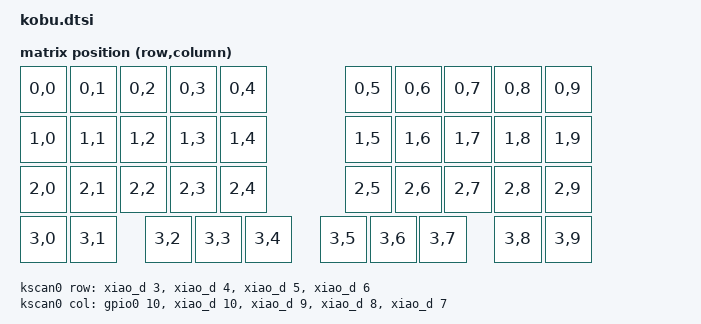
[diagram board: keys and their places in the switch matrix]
/*
 * kobu shield — shared hardware definition (both halves include this).
 *
 * kobu is a split keyboard with two Seeed XIAO nRF52840 BLE modules, a 4x5
 * scan matrix per half (unified into a 4x10 keymap), and one PMW3610 optical
 * trackball per half. LEFT = central (local ball drives SCROLL); RIGHT =
 * peripheral (ball forwarded over the split link, drives POINTER + auto-mouse).
 *
 * Pin map is taken verbatim from the RMK firmware's keyboard.toml (the
 * authoritative kobu spec). NOTE this differs from KobitoKey — kobu is a
 * different PCB:
 *   rows  (both halves, DRIVEN outputs): P0_29=D3, P0_04=D4, P0_05=D5, P1_11=D6
 *   cols  LEFT  (read inputs):  P0_10, P1_15, P1_14, P1_13, P1_12
 *   cols  RIGHT (read inputs):  P1_12, P1_13, P1_14, P1_15, P0_10  (see overlay)
 *   diodes anode-on-/ROW (per silkscreen) -> scan ROW->COL -> diode-direction
 *          = "row2col" (the OPPOSITE of KobitoKey's "col2row"); rows are the
 *          driven outputs, cols are the read inputs (pull-down).
 * P0_10 (NFC2) and P0_09 (NFC1) are NOT on the xiao_d nexus -> addressed as raw
 * &gpio0 10 / &gpio0 9 (requires CONFIG_NFCT_PINS_AS_GPIOS=y, set in the confs).
 */

#include <dt-bindings/zmk/matrix_transform.h>
#include <dt-bindings/zmk/input_transform.h>
#include <physical_layouts.dtsi>

/ {
    /* 4x5 matrix scan. Rows are shared L/R; cols default to the LEFT order and
     * are overridden in kobu_right.overlay. row2col => rows DRIVEN (active-high,
     * no pull), cols READ (active-high + pull-down). */
    kscan0: kscan0 {
        compatible = "zmk,kscan-gpio-matrix";
        diode-direction = "row2col";
        wakeup-source;

        row-gpios
            = <&xiao_d 3 GPIO_ACTIVE_HIGH>   /* P0_29  row0 */
            , <&xiao_d 4 GPIO_ACTIVE_HIGH>   /* P0_04  row1 */
            , <&xiao_d 5 GPIO_ACTIVE_HIGH>   /* P0_05  row2 */
            , <&xiao_d 6 GPIO_ACTIVE_HIGH>;  /* P1_11  row3 */

        /* LEFT col order [P0_10, P1_15, P1_14, P1_13, P1_12]. */
        col-gpios
            = <&gpio0 10 (GPIO_ACTIVE_HIGH | GPIO_PULL_DOWN)>   /* P0_10  col0 */
            , <&xiao_d 10 (GPIO_ACTIVE_HIGH | GPIO_PULL_DOWN)>  /* P1_15  col1 */
            , <&xiao_d  9 (GPIO_ACTIVE_HIGH | GPIO_PULL_DOWN)>  /* P1_14  col2 */
            , <&xiao_d  8 (GPIO_ACTIVE_HIGH | GPIO_PULL_DOWN)>  /* P1_13  col3 */
            , <&xiao_d  7 (GPIO_ACTIVE_HIGH | GPIO_PULL_DOWN)>; /* P1_12  col4 */
    };

    /* Unified 4 rows x 10 cols (left 0..4, right 5..9). Identity transform;
     * kobu_right.overlay adds col-offset = 5. */
    default_transform: keymap_transform0 {
        compatible = "zmk,matrix-transform";
        rows = <4>;
        columns = <10>;
        map = <
            RC(0,0) RC(0,1) RC(0,2) RC(0,3) RC(0,4)   RC(0,5) RC(0,6) RC(0,7) RC(0,8) RC(0,9)
            RC(1,0) RC(1,1) RC(1,2) RC(1,3) RC(1,4)   RC(1,5) RC(1,6) RC(1,7) RC(1,8) RC(1,9)
            RC(2,0) RC(2,1) RC(2,2) RC(2,3) RC(2,4)   RC(2,5) RC(2,6) RC(2,7) RC(2,8) RC(2,9)
            RC(3,0) RC(3,1) RC(3,2) RC(3,3) RC(3,4)   RC(3,5) RC(3,6) RC(3,7) RC(3,8) RC(3,9)
        >;
    };

    /* RIGHT (peripheral) trackball forwarded over the split link as input id 0.
     * The physical device + per-axis fix-ups are bound on the peripheral side
     * (kobu_right.overlay); the central consumes this split input via
     * tb_right_listener below. */
    split_inputs {
        #address-cells = <1>;
        #size-cells = <0>;

        tb_right_split: tb_right_split@0 {
            compatible = "zmk,input-split";
            reg = <0>;
        };
    };

    /* Listeners enabled per-half in the overlays. The LEFT ball (scroll) is a
     * central-local device; the RIGHT ball (pointer) arrives via the split. */
    tb_left_listener: tb_left_listener {
        compatible = "zmk,input-listener";
        status = "disabled";
    };

    tb_right_listener: tb_right_listener {
        compatible = "zmk,input-listener";
        status = "disabled";
        device = <&tb_right_split>;
    };

    /* Single physical layout (geometry + kscan + transform). */
    kobu_physical_layout: kobu_physical_layout {
        compatible = "zmk,physical-layout";
        display-name = "kobu";
        kscan = <&kscan0>;
        transform = <&default_transform>;

        keys =
            /* Row 0 */
              <&key_physical_attrs 100 100    0    0 0 0 0>
            , <&key_physical_attrs 100 100  100    0 0 0 0>
            , <&key_physical_attrs 100 100  200    0 0 0 0>
            , <&key_physical_attrs 100 100  300    0 0 0 0>
            , <&key_physical_attrs 100 100  400    0 0 0 0>
            , <&key_physical_attrs 100 100  650    0 0 0 0>
            , <&key_physical_attrs 100 100  750    0 0 0 0>
            , <&key_physical_attrs 100 100  850    0 0 0 0>
            , <&key_physical_attrs 100 100  950    0 0 0 0>
            , <&key_physical_attrs 100 100 1050    0 0 0 0>
            /* Row 1 */
            , <&key_physical_attrs 100 100    0  100 0 0 0>
            , <&key_physical_attrs 100 100  100  100 0 0 0>
            , <&key_physical_attrs 100 100  200  100 0 0 0>
            , <&key_physical_attrs 100 100  300  100 0 0 0>
            , <&key_physical_attrs 100 100  400  100 0 0 0>
            , <&key_physical_attrs 100 100  650  100 0 0 0>
            , <&key_physical_attrs 100 100  750  100 0 0 0>
            , <&key_physical_attrs 100 100  850  100 0 0 0>
            , <&key_physical_attrs 100 100  950  100 0 0 0>
            , <&key_physical_attrs 100 100 1050  100 0 0 0>
            /* Row 2 */
            , <&key_physical_attrs 100 100    0  200 0 0 0>
            , <&key_physical_attrs 100 100  100  200 0 0 0>
            , <&key_physical_attrs 100 100  200  200 0 0 0>
            , <&key_physical_attrs 100 100  300  200 0 0 0>
            , <&key_physical_attrs 100 100  400  200 0 0 0>
            , <&key_physical_attrs 100 100  650  200 0 0 0>
            , <&key_physical_attrs 100 100  750  200 0 0 0>
            , <&key_physical_attrs 100 100  850  200 0 0 0>
            , <&key_physical_attrs 100 100  950  200 0 0 0>
            , <&key_physical_attrs 100 100 1050  200 0 0 0>
            /* Row 3 (thumbs) */
            , <&key_physical_attrs 100 100    0  300 0 0 0>
            , <&key_physical_attrs 100 100  100  300 0 0 0>
            , <&key_physical_attrs 100 100  250  300 0 0 0>
            , <&key_physical_attrs 100 100  350  300 0 0 0>
            , <&key_physical_attrs 100 100  450  300 0 0 0>
            , <&key_physical_attrs 100 100  600  300 0 0 0>
            , <&key_physical_attrs 100 100  700  300 0 0 0>
            , <&key_physical_attrs 100 100  800  300 0 0 0>
            , <&key_physical_attrs 100 100  950  300 0 0 0>
            , <&key_physical_attrs 100 100 1050  300 0 0 0>
            ;
    };

    chosen {
        zmk,physical-layout = &kobu_physical_layout;
    };
};
/* RGB LED (led-red/green/blue) aliases + leds-enable are supplied by the
 * rgbled_adapter shield's boards/seeeduino_xiao_ble.overlay (pinned at the
 * zmk-rgbled-widget v0.3 tag in config/west.yml), so they are intentionally
 * NOT defined here. The XIAO onboard RGB LEDs are led0=P0_26 (R), led1=P0_30
 * (G), led2=P0_06 (B), common-anode. */
